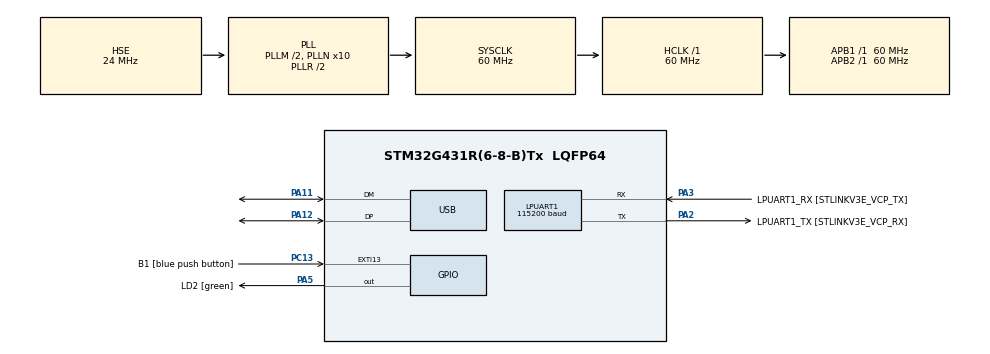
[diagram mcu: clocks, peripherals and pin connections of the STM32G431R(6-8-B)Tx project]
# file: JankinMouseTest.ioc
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LPUART1.BaudRate=115200
LPUART1.WordLength=UART_WORDLENGTH_8B
Mcu.Family=STM32G4
Mcu.Name=STM32G431R(6-8-B)Tx
Mcu.Package=LQFP64
NVIC.PriorityGroup=NVIC_PRIORITYGROUP_4
NVIC.USB_LP_IRQn=true\:0\:0\:false\:false\:true\:true\:true
PA11.Mode=Device
PA11.Signal=USB_DM
PA12.Mode=Device
PA12.Signal=USB_DP
PA13.GPIO_Label=T_SWDIO
PA13.Mode=Serial_Wire
PA13.Signal=SYS_JTMS-SWDIO
PA14.GPIO_Label=T_SWCLK
PA14.Mode=Serial_Wire
PA14.Signal=SYS_JTCK-SWCLK
PA2.GPIO_Label=LPUART1_TX [STLINKV3E_VCP_RX]
PA2.Mode=Asynchronous
PA2.Signal=LPUART1_TX
PA3.GPIO_Label=LPUART1_RX [STLINKV3E_VCP_TX]
PA3.Mode=Asynchronous
PA3.Signal=LPUART1_RX
PA5.GPIO_Label=LD2 [green]
PA5.Signal=GPIO_Output
PB3.GPIO_Label=T_SWO
PB3.Signal=SYS_JTDO-SWO
PC13.GPIO_Label=B1 [blue push button]
PC13.Signal=GPXTI13
PC14-OSC32_IN.Mode=LSE-External-Oscillator
PC14-OSC32_IN.Signal=RCC_OSC32_IN
PC15-OSC32_OUT.Mode=LSE-External-Oscillator
PC15-OSC32_OUT.Signal=RCC_OSC32_OUT
PF0-OSC_IN.Mode=HSE-External-Oscillator
PF0-OSC_IN.Signal=RCC_OSC_IN
PF1-OSC_OUT.Mode=HSE-External-Oscillator
PF1-OSC_OUT.Signal=RCC_OSC_OUT
ProjectManager.HeapSize=0x200
ProjectManager.StackSize=0x400
ProjectManager.TargetToolchain=STM32CubeIDE
RCC.ADC12Freq_Value=60000000
RCC.AHBFreq_Value=60000000
RCC.APB1Freq_Value=60000000
RCC.APB1TimFreq_Value=60000000
RCC.APB2Freq_Value=60000000
RCC.APB2TimFreq_Value=60000000
RCC.CK48CLockSelection=RCC_USBCLKSOURCE_HSI48
RCC.CortexFreq_Value=60000000
RCC.EXTERNAL_CLOCK_VALUE=12288000
RCC.HCLKFreq_Value=60000000
RCC.HSE_VALUE=24000000
RCC.HSI48_VALUE=48000000
RCC.HSI_VALUE=16000000
RCC.PLLM=RCC_PLLM_DIV2
RCC.PLLN=10
RCC.PLLSourceVirtual=RCC_PLLSOURCE_HSE
RCC.RTCClockSelection=RCC_RTCCLKSOURCE_LSE
RCC.SYSCLKFreq_VALUE=60000000
RCC.SYSCLKSource=RCC_SYSCLKSOURCE_PLLCLK
RCC.USBFreq_Value=48000000
RCC.VCOOutputFreq_Value=120000000
USB_DEVICE.CLASS_NAME_FS=HID
USB_DEVICE.PRODUCT_STRING_HID_FS=JankinMouseDevice
USB_DEVICE.VID=1156
USB_DEVICE.VirtualMode=Hid
USB_DEVICE.VirtualModeFS=Hid_FS
VP_SYS_VS_DBSignals.Mode=DisableDeadBatterySignals
VP_USB_DEVICE_VS_USB_DEVICE_HID_FS.Mode=HID_FS
board=NUCLEO-G431RB

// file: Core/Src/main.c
/* USER CODE BEGIN Header */
/**
  ******************************************************************************
  * @file           : main.c
  * @brief          : Main program body
  ******************************************************************************
  * @attention
  *
  * Copyright (c) 2022 STMicroelectronics.
  * All rights reserved.
  *
  * This software is licensed under terms that can be found in the LICENSE file
  * in the root directory of this software component.
  * If no LICENSE file comes with this software, it is provided AS-IS.
  *
  ******************************************************************************
  */
/* USER CODE END Header */
#include "main.h"
#include "usb_device.h"

/* USER CODE BEGIN Includes */
#include "usbd_hid.h"
/* USER CODE END Includes */

UART_HandleTypeDef hlpuart1;

/* USER CODE BEGIN PV */
extern USBD_HandleTypeDef hUsbDeviceFS;
/* USER CODE END PV */

void SystemClock_Config(void);
static void MX_GPIO_Init(void);
static void MX_LPUART1_UART_Init(void);

/* USER CODE BEGIN 0 */
uint8_t g_usb_state = 0;

uint8_t g_usb_MspInit = 0;
uint8_t g_usb_MspDeInit = 0;
uint8_t g_usb_SuspendCallback = 0;
uint8_t g_usb_ResumeCallback = 0;
uint8_t g_usb_ResetCallback = 0;
uint8_t g_usb_SetupStageCallback = 0;

void update_usb_state(uint8_t is_connected){
	g_usb_state = is_connected;
}

void update_usb_msp_init(){
	g_usb_MspInit++;
}

void update_usb_msp_de_init(){
	g_usb_MspDeInit++;
}

void update_usb_SuspendCallback(){
	g_usb_SuspendCallback++;
}

void update_usb_ResumeCallback(){
	g_usb_ResumeCallback++;
}

void update_usb_ResetCallback(){
	g_usb_ResetCallback++;
}

void update_usb_SetupStageCallback(){
	g_usb_SetupStageCallback++;
}
/* USER CODE END 0 */

int main(void)
{
  /* USER CODE BEGIN 1 */
	uint8_t report[4]={0,10,0,0};
  /* USER CODE END 1 */

  /* MCU Configuration--------------------------------------------------------*/

  /* Reset of all peripherals, Initializes the Flash interface and the Systick. */
  HAL_Init();

  /* Configure the system clock */
  SystemClock_Config();

  /* Initialize all configured peripherals */
  MX_GPIO_Init();
  MX_LPUART1_UART_Init();
  MX_USB_Device_Init();

  /* Infinite loop */
  while (1)
  {

    /* USER CODE BEGIN 3 */
	  if (g_usb_state == 1){
		  HAL_Delay(100);
		  HAL_Delay(100);
		  HAL_Delay(100);
		  HAL_Delay(100);
		  USBD_HID_SendReport(&hUsbDeviceFS, report, 4);
	  }
  }
  /* USER CODE END 3 */
}

void SystemClock_Config(void)
{
  RCC_OscInitTypeDef RCC_OscInitStruct = {0};
  RCC_ClkInitTypeDef RCC_ClkInitStruct = {0};

  /** Configure the main internal regulator output voltage
  */
  HAL_PWREx_ControlVoltageScaling(PWR_REGULATOR_VOLTAGE_SCALE1);
  /** Initializes the RCC Oscillators according to the specified parameters
  * in the RCC_OscInitTypeDef structure.
  */
  RCC_OscInitStruct.OscillatorType = RCC_OSCILLATORTYPE_HSI48|RCC_OSCILLATORTYPE_HSE;
  RCC_OscInitStruct.HSEState = RCC_HSE_ON;
  RCC_OscInitStruct.HSI48State = RCC_HSI48_ON;
  RCC_OscInitStruct.PLL.PLLState = RCC_PLL_ON;
  RCC_OscInitStruct.PLL.PLLSource = RCC_PLLSOURCE_HSE;
  RCC_OscInitStruct.PLL.PLLM = RCC_PLLM_DIV2;
  RCC_OscInitStruct.PLL.PLLN = 10;
  RCC_OscInitStruct.PLL.PLLP = RCC_PLLP_DIV2;
  RCC_OscInitStruct.PLL.PLLQ = RCC_PLLQ_DIV2;
  RCC_OscInitStruct.PLL.PLLR = RCC_PLLR_DIV2;
  if (HAL_RCC_OscConfig(&RCC_OscInitStruct) != HAL_OK)
  {
    Error_Handler();
  }
  /** Initializes the CPU, AHB and APB buses clocks
  */
  RCC_ClkInitStruct.ClockType = RCC_CLOCKTYPE_HCLK|RCC_CLOCKTYPE_SYSCLK
                              |RCC_CLOCKTYPE_PCLK1|RCC_CLOCKTYPE_PCLK2;
  RCC_ClkInitStruct.SYSCLKSource = RCC_SYSCLKSOURCE_PLLCLK;
  RCC_ClkInitStruct.AHBCLKDivider = RCC_SYSCLK_DIV1;
  RCC_ClkInitStruct.APB1CLKDivider = RCC_HCLK_DIV1;
  RCC_ClkInitStruct.APB2CLKDivider = RCC_HCLK_DIV1;

  if (HAL_RCC_ClockConfig(&RCC_ClkInitStruct, FLASH_LATENCY_1) != HAL_OK)
  {
    Error_Handler();
  }
}

static void MX_LPUART1_UART_Init(void)
{

  hlpuart1.Instance = LPUART1;
  hlpuart1.Init.BaudRate = 115200;
  hlpuart1.Init.WordLength = UART_WORDLENGTH_8B;
  hlpuart1.Init.StopBits = UART_STOPBITS_1;
  hlpuart1.Init.Parity = UART_PARITY_NONE;
  hlpuart1.Init.Mode = UART_MODE_TX_RX;
  hlpuart1.Init.HwFlowCtl = UART_HWCONTROL_NONE;
  hlpuart1.Init.OneBitSampling = UART_ONE_BIT_SAMPLE_DISABLE;
  hlpuart1.Init.ClockPrescaler = UART_PRESCALER_DIV1;
  hlpuart1.AdvancedInit.AdvFeatureInit = UART_ADVFEATURE_NO_INIT;
  if (HAL_UART_Init(&hlpuart1) != HAL_OK)
  {
    Error_Handler();
  }
  if (HAL_UARTEx_SetTxFifoThreshold(&hlpuart1, UART_TXFIFO_THRESHOLD_1_8) != HAL_OK)
  {
    Error_Handler();
  }
  if (HAL_UARTEx_SetRxFifoThreshold(&hlpuart1, UART_RXFIFO_THRESHOLD_1_8) != HAL_OK)
  {
    Error_Handler();
  }
  if (HAL_UARTEx_DisableFifoMode(&hlpuart1) != HAL_OK)
  {
    Error_Handler();
  }

}

static void MX_GPIO_Init(void)
{
  GPIO_InitTypeDef GPIO_InitStruct = {0};

  /* GPIO Ports Clock Enable */
  __HAL_RCC_GPIOC_CLK_ENABLE();
  __HAL_RCC_GPIOF_CLK_ENABLE();
  __HAL_RCC_GPIOA_CLK_ENABLE();
  __HAL_RCC_GPIOB_CLK_ENABLE();

  /*Configure GPIO pin Output Level */
  HAL_GPIO_WritePin(LD2_GPIO_Port, LD2_Pin, GPIO_PIN_RESET);

  /*Configure GPIO pin : B1_Pin */
  GPIO_InitStruct.Pin = B1_Pin;
  GPIO_InitStruct.Mode = GPIO_MODE_IT_RISING;
  GPIO_InitStruct.Pull = GPIO_NOPULL;
  HAL_GPIO_Init(B1_GPIO_Port, &GPIO_InitStruct);

  /*Configure GPIO pin : LD2_Pin */
  GPIO_InitStruct.Pin = LD2_Pin;
  GPIO_InitStruct.Mode = GPIO_MODE_OUTPUT_PP;
  GPIO_InitStruct.Pull = GPIO_NOPULL;
  GPIO_InitStruct.Speed = GPIO_SPEED_FREQ_LOW;
  HAL_GPIO_Init(LD2_GPIO_Port, &GPIO_InitStruct);

}

void Error_Handler(void)
{
  __disable_irq();
  while (1)
  {
  }
}
